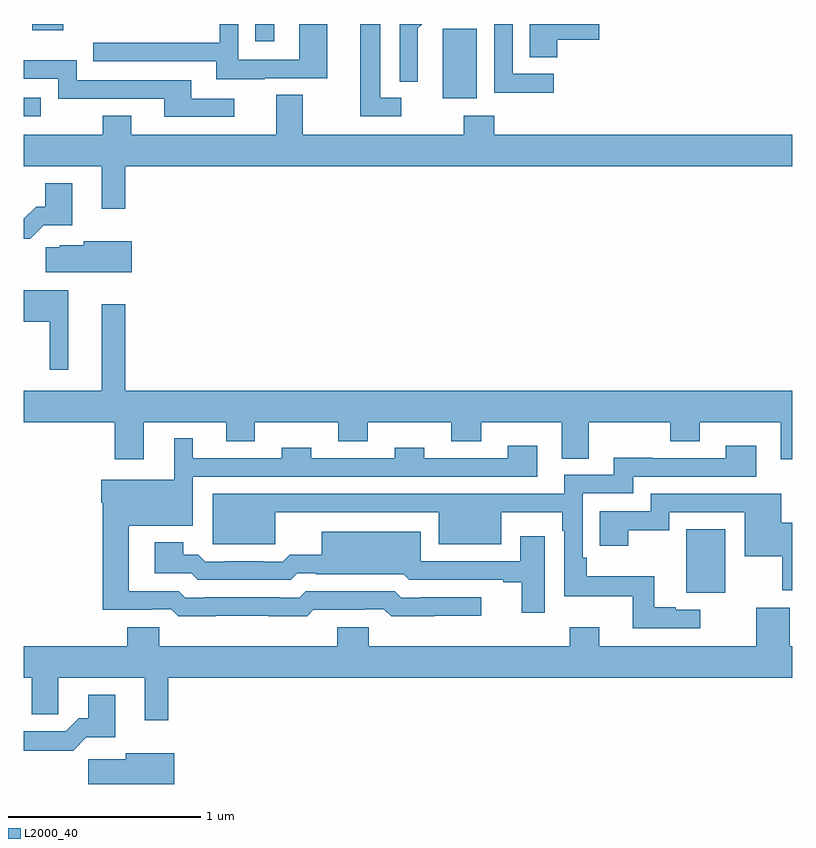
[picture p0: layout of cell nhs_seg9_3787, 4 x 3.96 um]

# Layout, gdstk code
import gdstk
lib = gdstk.Library(unit=1e-6, precision=1e-09)
def R(c, l, rs):  # rectangles x0, y0, x1, y1
    for r in rs: c.add(gdstk.rectangle(r[:2], r[2:], *l))
def P(c, l, *ps):  # polygons
    for p in ps: c.add(gdstk.Polygon(p, *l))
L2000_40 = (2000, 40)

nhs_seg9_3787 = lib.new_cell('nhs_seg9_3787')
R(nhs_seg9_3787, L2000_40, [(330.449,1187.54,330.652,1187.869), (327,1190.019,327.088,1190.115), (329.18,1190.114,329.359,1190.475), (328.206,1190.409,328.303,1190.5), (327.045,1190.468,327.206,1190.5)])
P(nhs_seg9_3787, L2000_40, [(328.255,1190.217),(328.579,1190.217),(328.579,1190.5),(328.434,1190.5),(328.434,1190.313),(328.116,1190.313),(328.116,1190.5),(328.02,1190.5),(328.02,1190.403),(327.361,1190.403),(327.361,1190.307),(328.001,1190.307),(328.001,1190.213),(328.255,1190.213)],
  [(329.758,1190.241),(329.544,1190.241),(329.544,1190.5),(329.448,1190.5),(329.448,1190.143),(329.758,1190.143)],
  [(329.052,1190.354),(329.051,1190.354),(329.051,1190.477),(329.074,1190.5),(328.956,1190.5),(328.956,1190.2),(329.052,1190.2)],
  [(328.966,1190.115),(328.855,1190.115),(328.855,1190.5),(328.751,1190.5),(328.751,1190.019),(328.966,1190.019)],
  [(329.777,1190.417),(329.995,1190.417),(329.995,1190.5),(329.633,1190.5),(329.633,1190.326),(329.777,1190.326)],
  [(328.096,1190.112),(327.871,1190.112),(327.871,1190.208),(327.276,1190.208),(327.276,1190.311),(327,1190.311),(327,1190.214),(327.18,1190.214),(327.18,1190.112),(327.731,1190.112),(327.731,1190.016),(328.096,1190.016)],
  [(327.529,1189.76),(331,1189.76),(331,1189.924),(329.45,1189.924),(329.45,1190.023),(329.29,1190.023),(329.29,1189.924),(328.453,1189.924),(328.453,1190.132),(328.313,1190.132),(328.313,1189.924),(327.559,1189.924),(327.559,1190.023),(327.412,1190.023),(327.412,1189.924),(327,1189.924),(327,1189.76),(327.407,1189.76),(327.407,1189.539),(327.529,1189.539)],
  [(327.105,1189.452),(327.253,1189.452),(327.253,1189.672),(327.113,1189.672),(327.113,1189.549),(327.064,1189.549),(327,1189.485),(327,1189.382),(327.035,1189.382)],
  [(327.562,1189.369),(327.312,1189.369),(327.312,1189.348),(327.186,1189.348),(327.186,1189.337),(327.114,1189.337),(327.114,1189.208),(327.562,1189.208)],
  [(327.232,1189.114),(327,1189.114),(327,1188.95),(327.134,1188.95),(327.134,1188.699),(327.232,1188.699)],
  [(327.625,1188.428),(328.055,1188.428),(328.055,1188.329),(328.203,1188.329),(328.203,1188.428),(328.636,1188.428),(328.636,1188.329),(328.791,1188.329),(328.791,1188.428),(329.224,1188.428),(329.224,1188.329),(329.382,1188.329),(329.382,1188.428),(329.801,1188.428),(329.801,1188.238),(329.941,1188.238),(329.941,1188.428),(330.364,1188.428),(330.364,1188.329),(330.519,1188.329),(330.519,1188.428),(330.941,1188.428),(330.941,1188.234),(331,1188.234),(331,1188.592),(327.529,1188.592),(327.529,1189.042),(327.407,1189.042),(327.407,1188.592),(327,1188.592),(327,1188.428),(327.473,1188.428),(327.473,1188.234),(327.625,1188.234)],
  [(327.998,1187.42),(328.276,1187.42),(328.276,1187.418),(328.475,1187.418),(328.507,1187.45),(328.775,1187.45),(328.775,1187.454),(328.875,1187.454),(328.912,1187.418),(329.136,1187.418),(329.136,1187.42),(329.38,1187.42),(329.38,1187.517),(329.065,1187.517),(329.065,1187.514),(328.965,1187.514),(328.932,1187.547),(328.467,1187.547),(328.434,1187.514),(328.334,1187.514),(328.334,1187.517),(327.94,1187.517),(327.94,1187.514),(327.84,1187.514),(327.807,1187.547),(327.547,1187.547),(327.547,1187.888),(327.88,1187.888),(327.88,1188.144),(329.674,1188.144),(329.674,1188.304),(329.518,1188.304),(329.518,1188.24),(329.085,1188.24),(329.085,1188.295),(328.93,1188.295),(328.93,1188.24),(328.497,1188.24),(328.497,1188.295),(328.342,1188.295),(328.342,1188.24),(327.88,1188.24),(327.88,1188.343),(327.782,1188.343),(327.782,1188.127),(327.404,1188.127),(327.404,1188.009),(327.41,1188.009),(327.41,1187.451),(327.668,1187.451),(327.668,1187.454),(327.767,1187.454),(327.803,1187.418),(327.998,1187.418)],
  [(330.52,1187.451),(330.393,1187.451),(330.393,1187.464),(330.283,1187.464),(330.283,1187.626),(329.93,1187.626),(329.93,1187.722),(329.91,1187.722),(329.91,1188.057),(330.172,1188.057),(330.172,1188.144),(330.814,1188.144),(330.814,1188.304),(330.653,1188.304),(330.653,1188.24),(330.275,1188.24),(330.275,1188.242),(330.071,1188.242),(330.071,1188.153),(329.813,1188.153),(329.813,1188.054),(328.205,1188.054),(328.205,1188.055),(327.983,1188.055),(327.983,1187.792),(328.309,1187.792),(328.309,1187.958),(329.159,1187.958),(329.159,1187.792),(329.485,1187.792),(329.485,1187.958),(329.802,1187.958),(329.802,1187.861),(329.814,1187.861),(329.814,1187.522),(330.17,1187.522),(330.17,1187.355),(330.52,1187.355)],
  [(331,1187.905),(330.943,1187.905),(330.943,1188.054),(330.264,1188.054),(330.264,1187.964),(329.999,1187.964),(329.999,1187.784),(330.147,1187.784),(330.147,1187.866),(330.36,1187.866),(330.36,1187.958),(330.752,1187.958),(330.752,1187.729),(330.949,1187.729),(330.949,1187.553),(331,1187.553)],
  [(329.713,1187.833),(329.585,1187.833),(329.585,1187.703),(329.067,1187.703),(329.067,1187.857),(328.55,1187.857),(328.55,1187.738),(328.385,1187.738),(328.347,1187.7),(328.247,1187.7),(328.247,1187.703),(328.045,1187.703),(328.045,1187.7),(327.945,1187.7),(327.909,1187.737),(327.829,1187.737),(327.829,1187.803),(327.681,1187.803),(327.681,1187.64),(327.873,1187.64),(327.906,1187.607),(328.39,1187.607),(328.423,1187.64),(328.519,1187.64),(328.519,1187.636),(328.977,1187.636),(329.006,1187.607),(329.495,1187.607),(329.495,1187.595),(329.591,1187.595),(329.591,1187.436),(329.713,1187.436)],
  [(327.751,1187.096),(331,1187.096),(331,1187.26),(330.986,1187.26),(330.986,1187.461),(330.814,1187.461),(330.814,1187.26),(329.995,1187.26),(329.995,1187.359),(329.843,1187.359),(329.843,1187.26),(328.796,1187.26),(328.796,1187.359),(328.631,1187.359),(328.631,1187.26),(327.704,1187.26),(327.704,1187.359),(327.539,1187.359),(327.539,1187.26),(327,1187.26),(327,1187.096),(327.041,1187.096),(327.041,1186.906),(327.18,1186.906),(327.18,1187.096),(327.629,1187.096),(327.629,1186.875),(327.751,1186.875)],
  [(327.326,1186.787),(327.475,1186.787),(327.475,1187.008),(327.335,1187.008),(327.335,1186.885),(327.286,1186.885),(327.219,1186.818),(327,1186.818),(327,1186.72),(327.001,1186.72),(327.001,1186.718),(327.257,1186.718)],
  [(327.784,1186.705),(327.53,1186.705),(327.53,1186.673),(327.336,1186.673),(327.336,1186.544),(327.784,1186.544)])

lib.write_gds('nhs_seg9_3787.gds')
